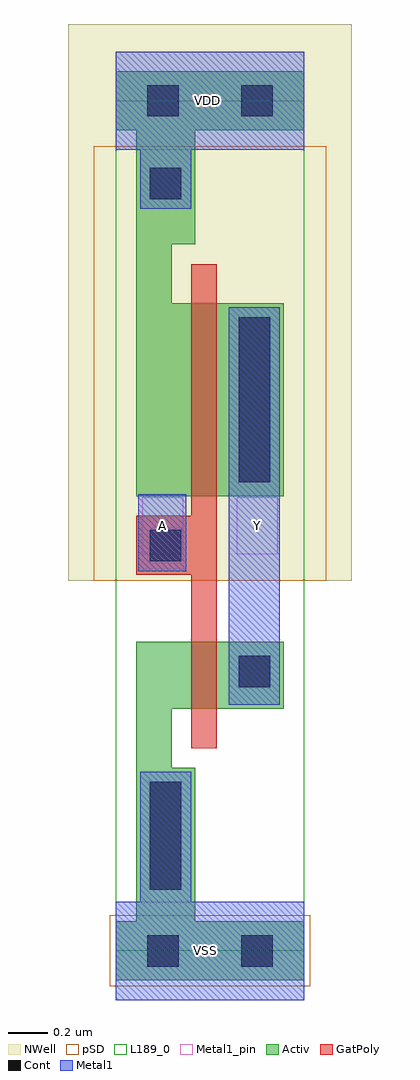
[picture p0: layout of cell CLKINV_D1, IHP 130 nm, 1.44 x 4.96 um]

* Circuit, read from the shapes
.subckt CLKINV_D1 A VDD VSS Y
XM1 Y A VSS VSS sg13_lv_nmos w=0.34u l=0.13u
XM2 Y A VDD VDD sg13_lv_pmos w=0.98u l=0.13u
.ends

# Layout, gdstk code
import gdstk
lib = gdstk.Library(unit=1e-6, precision=1e-09)
def R(c, l, rs):  # rectangles x0, y0, x1, y1
    for r in rs: c.add(gdstk.rectangle(r[:2], r[2:], *l))
def P(c, l, *ps):  # polygons
    for p in ps: c.add(gdstk.Polygon(p, *l))
Activ = (1, 0)
GatPoly = (5, 0)
Cont = (6, 0)
Metal1 = (8, 0)
Metal1_pin = (8, 2)
pSD = (14, 0)
NWell = (31, 0)
L189_0 = (189, 0)

clkinv_d1 = lib.new_cell('CLKINV_D1')
P(clkinv_d1, Activ, [(0,4.17),(0.105,4.17),(0.105,2.31),(0.855,2.31),(0.855,3.29),(0.285,3.29),(0.285,3.59),(0.405,3.59),(0.405,4.17),(0.96,4.17),(0.96,4.47),(0,4.47)],
  [(0.105,1.57),(0.105,0.15),(0,0.15),(0,-0.15),(0.96,-0.15),(0.96,0.15),(0.405,0.15),(0.405,0.93),(0.285,0.93),(0.285,1.23),(0.855,1.23),(0.855,1.57)])
P(clkinv_d1, GatPoly, [(0.515,3.49),(0.385,3.49),(0.385,2.21),(0.105,2.21),(0.105,1.91),(0.385,1.91),(0.385,1.03),(0.515,1.03)])
R(clkinv_d1, Cont, [(0.16,-0.08,0.32,0.08), (0.64,-0.08,0.8,0.08), (0.175,0.31,0.335,0.86), (0.625,1.34,0.785,1.5), (0.175,1.98,0.335,2.14), (0.625,2.38,0.785,3.22), (0.175,3.82,0.335,3.98), (0.16,4.24,0.32,4.4), (0.64,4.24,0.8,4.4)])
R(clkinv_d1, Metal1, [(0.575,1.25,0.835,3.27), (0.115,1.93,0.36,2.32)])
P(clkinv_d1, Metal1, [(0.385,3.77),(0.385,4.07),(0.96,4.07),(0.96,4.57),(0,4.57),(0,4.07),(0.125,4.07),(0.125,3.77)],
  [(0.96,0.25),(0.385,0.25),(0.385,0.91),(0.125,0.91),(0.125,0.25),(0,0.25),(0,-0.25),(0.96,-0.25)])
R(clkinv_d1, Metal1_pin, [(0,-0.25,0.96,0.25), (0.135,2.015,0.345,2.305), (0.615,2.015,0.825,2.305), (0,4.07,0.96,4.57)])
R(clkinv_d1, pSD, [(-0.03,-0.18,0.99,0.18), (-0.11,1.88,1.07,4.09)])
R(clkinv_d1, NWell, [(-0.24,1.88,1.2,4.71)])
R(clkinv_d1, L189_0, [(0,0,0.96,4.32)])
clkinv_d1.add(gdstk.Label('VDD', (0.465,4.32), layer=8, texttype=25))
clkinv_d1.add(gdstk.Label('VSS', (0.455,0), layer=8, texttype=25))
clkinv_d1.add(gdstk.Label('Y', (0.72,2.16), layer=8, texttype=25))
clkinv_d1.add(gdstk.Label('A', (0.24,2.16), layer=8, texttype=25))

lib.write_gds('CLKINV_D1.gds')
